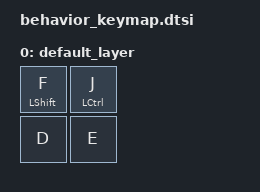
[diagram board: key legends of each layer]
#include <dt-bindings/zmk/keys.h>
#include <behaviors.dtsi>
#include <dt-bindings/zmk/kscan_mock.h>

/ {
    behaviors {
        ht_bal: behavior_hold_tap_balanced {
            compatible = "zmk,behavior-hold-tap";
            #binding-cells = <2>;
            flavor = "balanced";
            tapping-term-ms = <300>;
            quick-tap-ms = <200>;
            bindings = <&kp>, <&kp>;
            hold-trigger-key-positions = <2>;
        };
    };

    keymap {
        compatible = "zmk,keymap";

        default_layer {
            bindings = <
                &ht_bal LEFT_SHIFT F      &ht_bal LEFT_CONTROL J
                &kp D      &kp E>;
        };
    };
};
